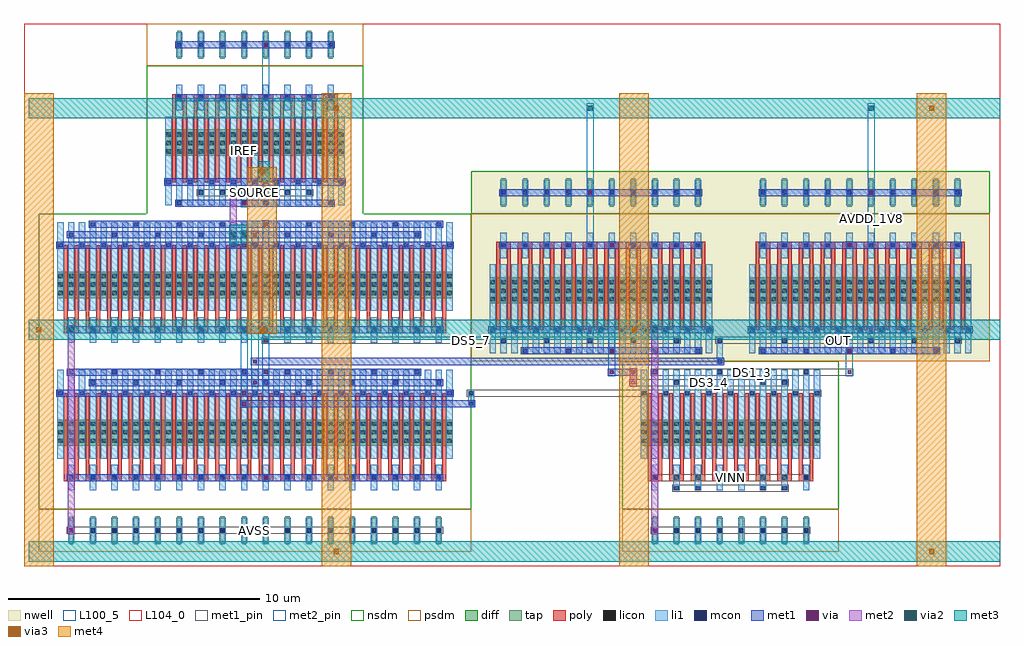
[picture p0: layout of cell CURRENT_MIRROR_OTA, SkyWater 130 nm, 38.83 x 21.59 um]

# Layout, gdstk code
import gdstk
lib = gdstk.Library(unit=1e-6, precision=1e-09)
def R(c, l, rs):  # rectangles x0, y0, x1, y1
    for r in rs: c.add(gdstk.rectangle(r[:2], r[2:], *l))
def A(c, l, x, y, w, h, nx, ny, dx, dy):  # array of equal rectangles
    R(c, l, [(x+i*dx, y+j*dy, x+i*dx+w, y+j*dy+h) for i in range(nx) for j in range(ny)])
nwell = (64, 20)
diff = (65, 20)
tap = (65, 44)
poly = (66, 20)
licon = (66, 44)
li1 = (67, 20)
mcon = (67, 44)
met1_pin = (68, 16)
met1 = (68, 20)
via = (68, 44)
met2_pin = (69, 16)
met2 = (69, 20)
via2 = (69, 44)
met3 = (70, 20)
via3 = (70, 44)
met4 = (71, 20)
nsdm = (93, 44)
psdm = (94, 20)
L100_5 = (100, 5)
L104_0 = (104, 0)

current_mirror_ota = lib.new_cell('CURRENT_MIRROR_OTA')
R(current_mirror_ota, nwell, [(17.2,7.56,27.52,15.12), (27.52,7.56,37.84,15.12)])
R(current_mirror_ota, diff, [(0.735,4.2,16.465,5.25), (23.955,4.2,31.085,5.25), (17.935,9.87,26.785,10.92), (28.255,9.87,37.105,10.92), (0.735,10.08,16.465,11.13), (5.035,15.75,12.165,16.8)])
A(current_mirror_ota, tap, 1.205, 0.28, 0.17, 1.12, 18, 1, 0.86, 0)
A(current_mirror_ota, tap, 24.425, 0.28, 0.17, 1.12, 8, 1, 0.86, 0)
A(current_mirror_ota, tap, 18.405, 13.72, 0.17, 1.12, 10, 1, 0.86, 0)
A(current_mirror_ota, tap, 28.725, 13.72, 0.17, 1.12, 10, 1, 0.86, 0)
A(current_mirror_ota, tap, 5.505, 19.6, 0.17, 1.12, 8, 1, 0.86, 0)
A(current_mirror_ota, poly, 1, 2.805, 0.58, 0.27, 18, 2, 0.86, 5.88)
A(current_mirror_ota, poly, 24.22, 2.805, 0.58, 0.27, 8, 1, 0.86, 0)
A(current_mirror_ota, poly, 1, 2.94, 0.15, 3.36, 36, 2, 0.43, 5.88)
A(current_mirror_ota, poly, 24.22, 2.94, 0.15, 3.36, 16, 1, 0.43, 0)
A(current_mirror_ota, poly, 18.2, 8.82, 0.15, 3.36, 20, 1, 0.43, 0)
A(current_mirror_ota, poly, 28.52, 8.82, 0.15, 3.36, 20, 1, 0.43, 0)
A(current_mirror_ota, poly, 18.2, 12.045, 0.58, 0.27, 10, 1, 0.86, 0)
A(current_mirror_ota, poly, 28.52, 12.045, 0.58, 0.27, 10, 1, 0.86, 0)
A(current_mirror_ota, poly, 5.3, 14.7, 0.15, 3.36, 16, 1, 0.43, 0)
A(current_mirror_ota, poly, 5.3, 17.925, 0.58, 0.27, 8, 1, 0.86, 0)
A(current_mirror_ota, licon, 24.425, 0.755, 0.17, 0.17, 8, 2, 0.86, 2.1)
A(current_mirror_ota, licon, 1.205, 2.855, 0.17, 0.17, 18, 2, 0.86, 5.88)
A(current_mirror_ota, licon, 0.775, 4.32, 0.17, 0.17, 3, 3, 0.43, 0.34)
A(current_mirror_ota, licon, 1.635, 4.32, 0.17, 0.17, 3, 3, 0.43, 0.34)
A(current_mirror_ota, licon, 2.495, 4.32, 0.17, 0.17, 3, 3, 0.43, 0.34)
A(current_mirror_ota, licon, 3.355, 4.32, 0.17, 0.17, 3, 3, 0.43, 0.34)
A(current_mirror_ota, licon, 4.215, 4.32, 0.17, 0.17, 3, 3, 0.43, 0.34)
A(current_mirror_ota, licon, 5.075, 4.32, 0.17, 0.17, 3, 3, 0.43, 0.34)
A(current_mirror_ota, licon, 5.935, 4.32, 0.17, 0.17, 3, 3, 0.43, 0.34)
A(current_mirror_ota, licon, 6.795, 4.32, 0.17, 0.17, 3, 3, 0.43, 0.34)
A(current_mirror_ota, licon, 7.655, 4.32, 0.17, 0.17, 3, 3, 0.43, 0.34)
A(current_mirror_ota, licon, 8.515, 4.32, 0.17, 0.17, 3, 3, 0.43, 0.34)
A(current_mirror_ota, licon, 9.375, 4.32, 0.17, 0.17, 3, 3, 0.43, 0.34)
A(current_mirror_ota, licon, 10.235, 4.32, 0.17, 0.17, 3, 3, 0.43, 0.34)
A(current_mirror_ota, licon, 11.095, 4.32, 0.17, 0.17, 3, 3, 0.43, 0.34)
A(current_mirror_ota, licon, 11.955, 4.32, 0.17, 0.17, 3, 3, 0.43, 0.34)
A(current_mirror_ota, licon, 12.815, 4.32, 0.17, 0.17, 3, 3, 0.43, 0.34)
A(current_mirror_ota, licon, 13.675, 4.32, 0.17, 0.17, 3, 3, 0.43, 0.34)
A(current_mirror_ota, licon, 14.535, 4.32, 0.17, 0.17, 3, 3, 0.43, 0.34)
A(current_mirror_ota, licon, 15.395, 4.32, 0.17, 0.17, 3, 3, 0.43, 0.34)
A(current_mirror_ota, licon, 23.995, 4.32, 0.17, 0.17, 3, 3, 0.43, 0.34)
A(current_mirror_ota, licon, 24.855, 4.32, 0.17, 0.17, 3, 3, 0.43, 0.34)
A(current_mirror_ota, licon, 25.715, 4.32, 0.17, 0.17, 3, 3, 0.43, 0.34)
A(current_mirror_ota, licon, 26.575, 4.32, 0.17, 0.17, 3, 3, 0.43, 0.34)
A(current_mirror_ota, licon, 27.435, 4.32, 0.17, 0.17, 3, 3, 0.43, 0.34)
A(current_mirror_ota, licon, 28.295, 4.32, 0.17, 0.17, 3, 3, 0.43, 0.34)
A(current_mirror_ota, licon, 29.155, 4.32, 0.17, 0.17, 3, 3, 0.43, 0.34)
A(current_mirror_ota, licon, 30.015, 4.32, 0.17, 0.17, 3, 3, 0.43, 0.34)
A(current_mirror_ota, licon, 17.975, 9.95, 0.17, 0.17, 3, 3, 0.43, 0.34)
A(current_mirror_ota, licon, 18.835, 9.95, 0.17, 0.17, 3, 3, 0.43, 0.34)
A(current_mirror_ota, licon, 19.695, 9.95, 0.17, 0.17, 3, 3, 0.43, 0.34)
A(current_mirror_ota, licon, 20.555, 9.95, 0.17, 0.17, 3, 3, 0.43, 0.34)
A(current_mirror_ota, licon, 21.415, 9.95, 0.17, 0.17, 3, 3, 0.43, 0.34)
A(current_mirror_ota, licon, 22.275, 9.95, 0.17, 0.17, 3, 3, 0.43, 0.34)
A(current_mirror_ota, licon, 23.135, 9.95, 0.17, 0.17, 3, 3, 0.43, 0.34)
A(current_mirror_ota, licon, 23.995, 9.95, 0.17, 0.17, 3, 3, 0.43, 0.34)
A(current_mirror_ota, licon, 24.855, 9.95, 0.17, 0.17, 3, 3, 0.43, 0.34)
A(current_mirror_ota, licon, 25.715, 9.95, 0.17, 0.17, 3, 3, 0.43, 0.34)
A(current_mirror_ota, licon, 28.295, 9.95, 0.17, 0.17, 3, 3, 0.43, 0.34)
A(current_mirror_ota, licon, 29.155, 9.95, 0.17, 0.17, 3, 3, 0.43, 0.34)
A(current_mirror_ota, licon, 30.015, 9.95, 0.17, 0.17, 3, 3, 0.43, 0.34)
A(current_mirror_ota, licon, 30.875, 9.95, 0.17, 0.17, 3, 3, 0.43, 0.34)
A(current_mirror_ota, licon, 31.735, 9.95, 0.17, 0.17, 3, 3, 0.43, 0.34)
A(current_mirror_ota, licon, 32.595, 9.95, 0.17, 0.17, 3, 3, 0.43, 0.34)
A(current_mirror_ota, licon, 33.455, 9.95, 0.17, 0.17, 3, 3, 0.43, 0.34)
A(current_mirror_ota, licon, 34.315, 9.95, 0.17, 0.17, 3, 3, 0.43, 0.34)
A(current_mirror_ota, licon, 35.175, 9.95, 0.17, 0.17, 3, 3, 0.43, 0.34)
A(current_mirror_ota, licon, 36.035, 9.95, 0.17, 0.17, 3, 3, 0.43, 0.34)
A(current_mirror_ota, licon, 0.775, 10.2, 0.17, 0.17, 3, 3, 0.43, 0.34)
A(current_mirror_ota, licon, 1.635, 10.2, 0.17, 0.17, 3, 3, 0.43, 0.34)
A(current_mirror_ota, licon, 2.495, 10.2, 0.17, 0.17, 3, 3, 0.43, 0.34)
A(current_mirror_ota, licon, 3.355, 10.2, 0.17, 0.17, 3, 3, 0.43, 0.34)
A(current_mirror_ota, licon, 4.215, 10.2, 0.17, 0.17, 3, 3, 0.43, 0.34)
A(current_mirror_ota, licon, 5.075, 10.2, 0.17, 0.17, 3, 3, 0.43, 0.34)
A(current_mirror_ota, licon, 5.935, 10.2, 0.17, 0.17, 3, 3, 0.43, 0.34)
A(current_mirror_ota, licon, 6.795, 10.2, 0.17, 0.17, 3, 3, 0.43, 0.34)
A(current_mirror_ota, licon, 7.655, 10.2, 0.17, 0.17, 3, 3, 0.43, 0.34)
A(current_mirror_ota, licon, 8.515, 10.2, 0.17, 0.17, 3, 3, 0.43, 0.34)
A(current_mirror_ota, licon, 9.375, 10.2, 0.17, 0.17, 3, 3, 0.43, 0.34)
A(current_mirror_ota, licon, 10.235, 10.2, 0.17, 0.17, 3, 3, 0.43, 0.34)
A(current_mirror_ota, licon, 11.095, 10.2, 0.17, 0.17, 3, 3, 0.43, 0.34)
A(current_mirror_ota, licon, 11.955, 10.2, 0.17, 0.17, 3, 3, 0.43, 0.34)
A(current_mirror_ota, licon, 12.815, 10.2, 0.17, 0.17, 3, 3, 0.43, 0.34)
A(current_mirror_ota, licon, 13.675, 10.2, 0.17, 0.17, 3, 3, 0.43, 0.34)
A(current_mirror_ota, licon, 14.535, 10.2, 0.17, 0.17, 3, 3, 0.43, 0.34)
A(current_mirror_ota, licon, 15.395, 10.2, 0.17, 0.17, 3, 3, 0.43, 0.34)
A(current_mirror_ota, licon, 18.405, 12.095, 0.17, 0.17, 10, 2, 0.86, 2.1)
A(current_mirror_ota, licon, 28.725, 12.095, 0.17, 0.17, 10, 2, 0.86, 2.1)
A(current_mirror_ota, licon, 5.075, 15.83, 0.17, 0.17, 3, 3, 0.43, 0.34)
A(current_mirror_ota, licon, 5.935, 15.83, 0.17, 0.17, 3, 3, 0.43, 0.34)
A(current_mirror_ota, licon, 6.795, 15.83, 0.17, 0.17, 3, 3, 0.43, 0.34)
A(current_mirror_ota, licon, 7.655, 15.83, 0.17, 0.17, 3, 3, 0.43, 0.34)
A(current_mirror_ota, licon, 8.515, 15.83, 0.17, 0.17, 3, 3, 0.43, 0.34)
A(current_mirror_ota, licon, 9.375, 15.83, 0.17, 0.17, 3, 3, 0.43, 0.34)
A(current_mirror_ota, licon, 10.235, 15.83, 0.17, 0.17, 3, 3, 0.43, 0.34)
A(current_mirror_ota, licon, 11.095, 15.83, 0.17, 0.17, 3, 3, 0.43, 0.34)
A(current_mirror_ota, licon, 5.505, 17.975, 0.17, 0.17, 8, 2, 0.86, 2.1)
R(current_mirror_ota, licon, [(1.205,0.755,1.375,0.925), (1.205,0.755,1.375,0.925), (2.065,0.755,2.235,0.925), (2.065,0.755,2.235,0.925), (2.925,0.755,3.095,0.925), (2.925,0.755,3.095,0.925), (3.785,0.755,3.955,0.925), (3.785,0.755,3.955,0.925), (4.645,0.755,4.815,0.925), (4.645,0.755,4.815,0.925), (5.505,0.755,5.675,0.925), (5.505,0.755,5.675,0.925), (6.365,0.755,6.535,0.925), (6.365,0.755,6.535,0.925), (7.225,0.755,7.395,0.925), (7.225,0.755,7.395,0.925), (8.085,0.755,8.255,0.925), (8.085,0.755,8.255,0.925), (8.945,0.755,9.115,0.925), (8.945,0.755,9.115,0.925), (9.805,0.755,9.975,0.925), (9.805,0.755,9.975,0.925), (10.665,0.755,10.835,0.925), (10.665,0.755,10.835,0.925), (11.525,0.755,11.695,0.925), (11.525,0.755,11.695,0.925), (12.385,0.755,12.555,0.925), (12.385,0.755,12.555,0.925), (13.245,0.755,13.415,0.925), (13.245,0.755,13.415,0.925), (14.105,0.755,14.275,0.925), (14.105,0.755,14.275,0.925), (14.965,0.755,15.135,0.925), (14.965,0.755,15.135,0.925), (15.825,0.755,15.995,0.925), (15.825,0.755,15.995,0.925)])
A(current_mirror_ota, li1, 1.165, 0.335, 0.25, 1.01, 18, 2, 0.86, 2.1)
A(current_mirror_ota, li1, 24.385, 0.335, 0.25, 1.01, 8, 2, 0.86, 2.1)
A(current_mirror_ota, li1, 0.735, 3.695, 0.25, 3.53, 37, 2, 0.43, 5.88)
A(current_mirror_ota, li1, 23.955, 3.695, 0.25, 3.53, 17, 1, 0.43, 0)
A(current_mirror_ota, li1, 17.935, 7.895, 0.25, 3.53, 21, 1, 0.43, 0)
A(current_mirror_ota, li1, 28.255, 7.895, 0.25, 3.53, 21, 1, 0.43, 0)
A(current_mirror_ota, li1, 1.165, 8.315, 0.25, 1.01, 18, 1, 0.86, 0)
A(current_mirror_ota, li1, 18.365, 11.675, 0.25, 1.01, 10, 2, 0.86, 2.1)
A(current_mirror_ota, li1, 28.685, 11.675, 0.25, 1.01, 10, 2, 0.86, 2.1)
A(current_mirror_ota, li1, 5.035, 13.775, 0.25, 3.53, 17, 1, 0.43, 0)
A(current_mirror_ota, li1, 5.465, 17.555, 0.25, 1.01, 8, 2, 0.86, 2.1)
R(current_mirror_ota, li1, [(17.075,5.795,17.325,6.385), (26.965,7.475,27.215,8.485)])
A(current_mirror_ota, mcon, 1.205, 0.755, 0.17, 0.17, 18, 2, 0.86, 2.1)
A(current_mirror_ota, mcon, 24.425, 0.755, 0.17, 0.17, 8, 1, 0.86, 0)
A(current_mirror_ota, mcon, 0.775, 6.215, 0.17, 0.17, 20, 1, 0.86, 0)
A(current_mirror_ota, mcon, 23.995, 6.215, 0.17, 0.17, 9, 1, 0.86, 0)
A(current_mirror_ota, mcon, 2.065, 6.635, 0.17, 0.17, 9, 2, 1.72, 6.3)
A(current_mirror_ota, mcon, 1.205, 7.055, 0.17, 0.17, 9, 2, 1.72, 5.46)
A(current_mirror_ota, mcon, 19.265, 7.895, 0.17, 0.17, 5, 1, 1.72, 0)
A(current_mirror_ota, mcon, 28.725, 7.895, 0.17, 0.17, 5, 1, 1.72, 0)
A(current_mirror_ota, mcon, 18.405, 8.315, 0.17, 0.17, 6, 1, 1.72, 0)
A(current_mirror_ota, mcon, 29.585, 8.315, 0.17, 0.17, 5, 1, 1.72, 0)
A(current_mirror_ota, mcon, 1.205, 8.735, 0.17, 0.17, 18, 1, 0.86, 0)
A(current_mirror_ota, mcon, 17.975, 8.735, 0.17, 0.17, 11, 1, 0.86, 0)
A(current_mirror_ota, mcon, 28.295, 8.735, 0.17, 0.17, 11, 1, 0.86, 0)
A(current_mirror_ota, mcon, 0.775, 12.095, 0.17, 0.17, 19, 1, 0.86, 0)
A(current_mirror_ota, mcon, 18.405, 12.095, 0.17, 0.17, 10, 2, 0.86, 2.1)
A(current_mirror_ota, mcon, 28.725, 12.095, 0.17, 0.17, 10, 2, 0.86, 2.1)
A(current_mirror_ota, mcon, 5.075, 14.615, 0.17, 0.17, 9, 1, 0.86, 0)
A(current_mirror_ota, mcon, 5.505, 17.975, 0.17, 0.17, 8, 2, 0.86, 2.1)
R(current_mirror_ota, mcon, [(25.285,2.435,25.455,2.605), (26.145,2.435,26.315,2.605), (28.725,2.435,28.895,2.605), (29.585,2.435,29.755,2.605), (24.425,2.855,24.595,3.025), (27.005,2.855,27.175,3.025), (27.865,2.855,28.035,3.025), (30.445,2.855,30.615,3.025), (17.115,5.795,17.285,5.965), (25.285,6.635,25.455,6.805), (26.145,6.635,26.315,6.805), (28.725,6.635,28.895,6.805), (29.585,6.635,29.755,6.805), (24.425,7.055,24.595,7.225), (27.005,7.055,27.175,7.225), (27.865,7.055,28.035,7.225), (30.445,7.055,30.615,7.225), (27.005,7.475,27.175,7.645), (5.505,13.775,5.675,13.945), (8.085,13.775,8.255,13.945), (8.945,13.775,9.115,13.945), (11.525,13.775,11.695,13.945), (6.365,14.195,6.535,14.365), (7.225,14.195,7.395,14.365), (9.805,14.195,9.975,14.365), (10.665,14.195,10.835,14.365)])
R(current_mirror_ota, met1_pin, [(1.12,0.7,16.08,0.98), (24.34,0.7,30.7,0.98), (25.2,2.38,29.84,2.66), (24.34,2.8,30.7,3.08), (17.03,6.16,31.13,6.44), (23.49,6.58,29.84,6.86), (24.34,7,32.41,7.28), (8.87,8.26,25.54,8.54), (26.92,8.26,36.72,8.54), (6.28,14.14,10.92,14.42)])
R(current_mirror_ota, met1, [(1.12,2.8,16.08,3.08), (8.01,5.74,17.37,6.02), (0.69,6.16,16.51,6.44), (1.98,6.58,16.08,6.86), (1.12,7,15.22,7.28), (22.63,7,23.81,7.28), (8.44,7.42,27.26,7.7), (19.18,7.84,26.4,8.12), (28.64,7.84,35.86,8.12), (1.12,8.68,16.08,8.96), (17.89,8.68,26.83,8.96), (28.21,8.68,37.15,8.96), (0.69,12.04,16.51,12.32), (18.32,12.04,26.4,12.32), (28.64,12.04,36.72,12.32), (1.12,12.46,15.22,12.74), (1.98,12.88,16.08,13.16), (5.42,13.72,11.78,14), (18.32,14.14,26.4,14.42), (28.64,14.14,36.72,14.42), (4.99,14.56,12.21,14.84), (5.42,17.92,11.78,18.2), (5.42,20.02,11.78,20.3)])
R(current_mirror_ota, via, [(1.215,0.765,1.365,0.915), (24.435,0.765,24.585,0.915), (8.955,2.865,9.105,3.015), (8.095,5.805,8.245,5.955), (8.095,6.225,8.245,6.375), (8.525,6.645,8.675,6.795), (23.575,6.645,23.725,6.795), (8.955,7.065,9.105,7.215), (22.715,7.065,22.865,7.215), (23.575,7.065,23.725,7.215), (32.175,7.065,32.325,7.215), (8.525,7.485,8.675,7.635), (22.715,7.905,22.865,8.055), (32.175,7.905,32.325,8.055), (8.955,8.325,9.105,8.475), (8.955,8.745,9.105,8.895), (21.855,8.745,22.005,8.895), (33.035,8.745,33.185,8.895), (8.095,12.105,8.245,12.255), (22.715,12.105,22.865,12.255), (32.175,12.105,32.325,12.255), (8.525,12.525,8.675,12.675), (8.955,12.945,9.105,13.095), (8.095,13.785,8.245,13.935), (7.665,14.205,7.815,14.355), (21.855,14.205,22.005,14.355), (33.035,14.205,33.185,14.355), (8.955,14.625,9.105,14.775), (8.095,17.985,8.245,18.135), (8.955,20.085,9.105,20.235)])
R(current_mirror_ota, met2_pin, [(8.89,2.78,9.17,13.18), (8.03,5.72,8.31,12.785), (8.46,6.56,8.74,12.76), (22.65,6.98,22.93,12.34), (32.11,6.98,32.39,12.34), (21.79,8.66,22.07,17.825), (32.97,8.66,33.25,17.825), (8.03,13.7,8.31,18.22), (8.89,14.54,9.17,20.32)])
R(current_mirror_ota, met2, [(1.15,0.68,1.43,9.005), (24.37,0.68,24.65,9.005), (23.51,6.56,23.79,7.3), (7.6,12.415,7.88,14.44)])
R(current_mirror_ota, via2, [(1.19,8.72,1.39,8.92), (24.41,8.72,24.61,8.92), (7.64,12.5,7.84,12.7), (8.07,12.5,8.27,12.7), (8.93,15.02,9.13,15.22), (21.83,17.54,22.03,17.74), (33.01,17.54,33.21,17.74)])
A(current_mirror_ota, met3, -0.4, -0.4, 38.64, 0.8, 1, 3, 0, 8.82)
R(current_mirror_ota, met3, [(7.575,12.2,8.335,13), (8.715,14.72,9.195,15.52)])
R(current_mirror_ota, via3, [(11.74,-0.1,11.94,0.1), (35.42,-0.1,35.62,0.1), (-0.1,8.72,0.1,8.92), (8.78,8.72,8.98,8.92), (23.58,8.72,23.78,8.92), (8.78,15.02,8.98,15.22), (11.74,17.54,11.94,17.74), (35.42,17.54,35.62,17.74)])
A(current_mirror_ota, met4, -0.59, -0.59, 1.18, 18.82, 4, 1, 11.84, 0)
R(current_mirror_ota, met4, [(8.29,8.655,9.47,15.285)])
R(current_mirror_ota, nsdm, [(0,1.68,17.2,13.44), (23.22,1.68,31.82,7.56), (4.3,13.44,12.9,19.32), (17.2,13.44,27.52,15.12), (27.52,13.44,37.84,15.12)])
R(current_mirror_ota, psdm, [(0,0,17.2,1.68), (23.22,0,31.82,1.68), (17.2,7.56,27.52,13.44), (27.52,7.56,37.84,13.44), (4.3,19.32,12.9,21)])
R(current_mirror_ota, L100_5, [(-0.59,-0.59,38.24,21)])
R(current_mirror_ota, L104_0, [(-0.59,-0.59,38.24,21)])
current_mirror_ota.add(gdstk.Label('SOURCE', (8.6,14.28), layer=68, texttype=5))
current_mirror_ota.add(gdstk.Label('DS5_7', (17.205,8.4), layer=68, texttype=5))
current_mirror_ota.add(gdstk.Label('OUT', (31.82,8.4), layer=68, texttype=5))
current_mirror_ota.add(gdstk.Label('DS1_3', (28.375,7.14), layer=68, texttype=5))
current_mirror_ota.add(gdstk.Label('VINN', (27.52,2.94), layer=68, texttype=5))
current_mirror_ota.add(gdstk.Label('DS3_4', (26.665,6.72), layer=68, texttype=5))
current_mirror_ota.add(gdstk.Label('AVSS', (8.6,0.84), layer=68, texttype=5))
current_mirror_ota.add(gdstk.Label('VINP', (27.52,2.52), layer=68, texttype=5))
current_mirror_ota.add(gdstk.Label('IREF', (8.17,15.96), layer=69, texttype=5))
current_mirror_ota.add(gdstk.Label('AVDD_1V8', (33.11,13.242), layer=69, texttype=5))

lib.write_gds('CURRENT_MIRROR_OTA.gds')
